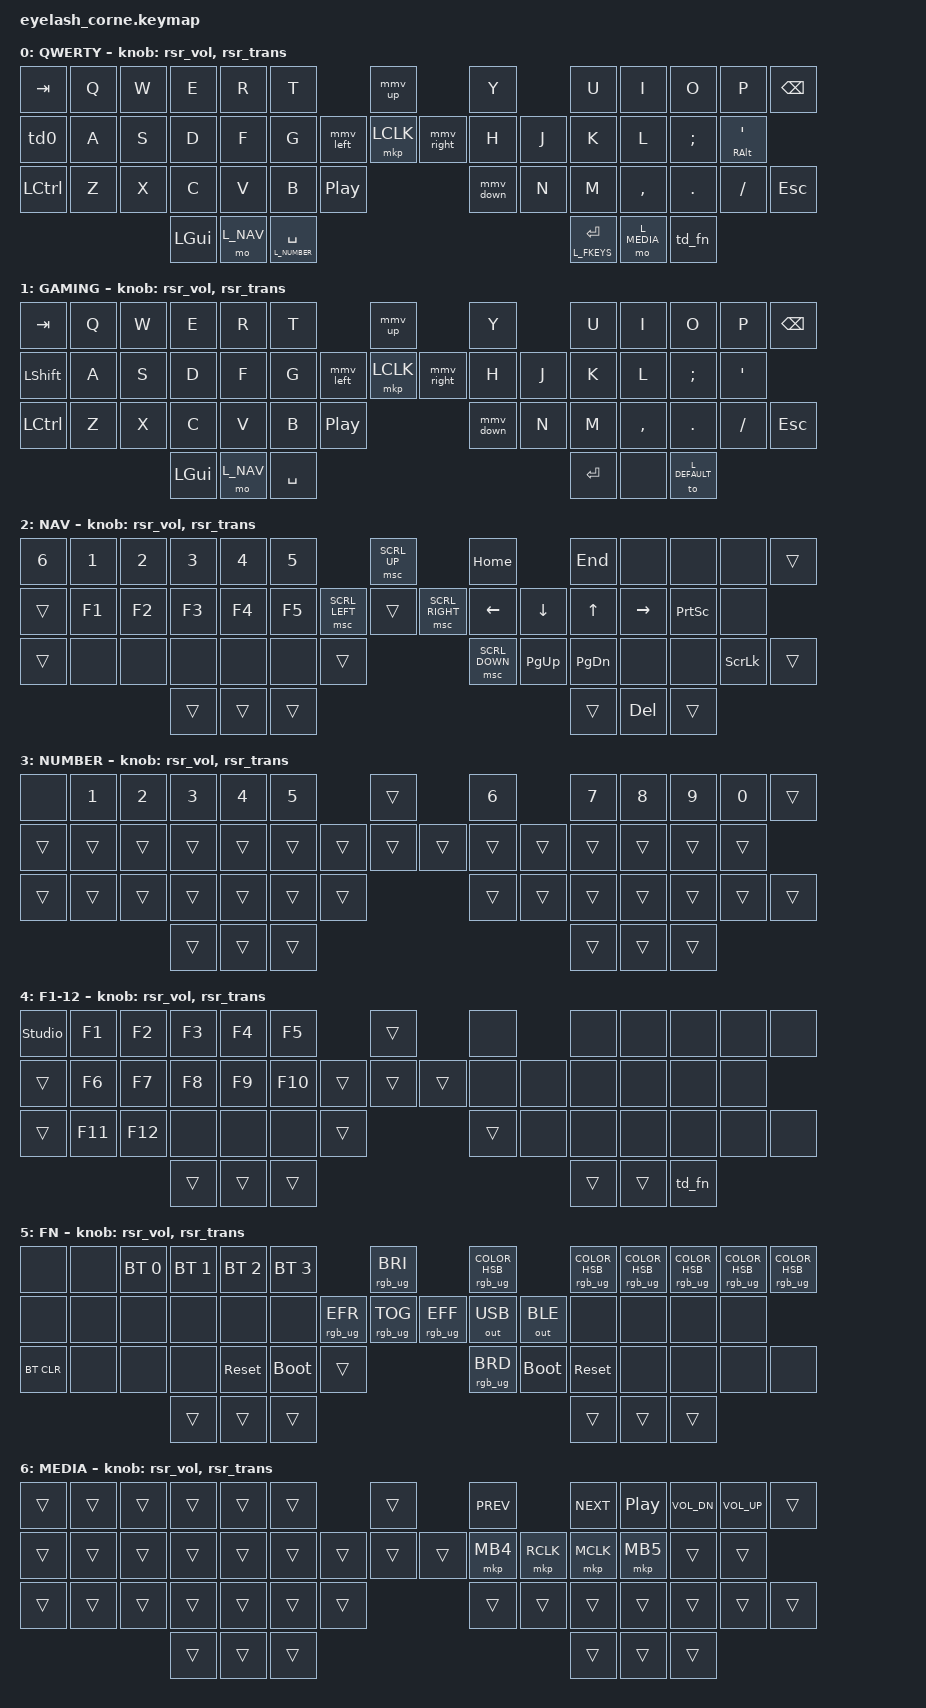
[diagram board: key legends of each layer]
#define ZMK_POINTING_DEFAULT_MOVE_VAL 800  // 600
#define ZMK_POINTING_DEFAULT_SCRL_VAL 200    // 10

/* ===== Layer Indexes ===== */
#define L_DEFAULT  0
#define L_GAMING   1
#define L_NAV      2
#define L_NUMBER   3
#define L_FKEYS    4
#define L_FN       5
#define L_MEDIA    6


#include <dt-bindings/zmk/bt.h>
#include <dt-bindings/zmk/keys.h>
#include <dt-bindings/zmk/outputs.h>
#include <dt-bindings/zmk/pointing.h>
#include <dt-bindings/zmk/rgb.h>
#include <zephyr/dt-bindings/input/input-event-codes.h>

#include <behaviors.dtsi>
#include <behaviors/runtime-sensor-rotate.dtsi>
#include <input/processors.dtsi>

/* ===== Fast Mouse Movement (2x normal speed) ===== */
#define FAST_MOVE_VAL  (ZMK_POINTING_DEFAULT_MOVE_VAL * 4)
#define FAST_UP        MOVE_Y(-FAST_MOVE_VAL)
#define FAST_DOWN      MOVE_Y(FAST_MOVE_VAL)
#define FAST_LEFT      MOVE_X(-FAST_MOVE_VAL)
#define FAST_RIGHT     MOVE_X(FAST_MOVE_VAL)

&msc {
  acceleration-exponent = <0>;         // 0
  time-to-max-speed-ms = <300>;  // 300
  delay-ms = <0>;                      // 0
};


&mmv {
  acceleration-exponent = <1>;
  time-to-max-speed-ms = <1200>;
};


/ {
  behaviors {
    td0: td0 {
      compatible = "zmk,behavior-tap-dance";
      display-name = "Shift/Caps Lock Tap Dance";
      #binding-cells = <0>;
      tapping-term-ms = <300>;
      bindings = <&kp LEFT_SHIFT>, <&kp CAPS>;
    };

    mmv_up: mmv_up {
      compatible = "zmk,behavior-mod-morph";
      #binding-cells = <0>;
      bindings = <&mmv MOVE_UP>, <&mmv FAST_UP>;
      mods = <(MOD_LSFT|MOD_RSFT)>;
      keep-mods = <(MOD_LSFT|MOD_RSFT)>;
    };

    mmv_down: mmv_down {
      compatible = "zmk,behavior-mod-morph";
      #binding-cells = <0>;
      bindings = <&mmv MOVE_DOWN>, <&mmv FAST_DOWN>;
      mods = <(MOD_LSFT|MOD_RSFT)>;
      keep-mods = <(MOD_LSFT|MOD_RSFT)>;
    };

    mmv_left: mmv_left {
      compatible = "zmk,behavior-mod-morph";
      #binding-cells = <0>;
      bindings = <&mmv MOVE_LEFT>, <&mmv FAST_LEFT>;
      mods = <(MOD_LSFT|MOD_RSFT)>;
      keep-mods = <(MOD_LSFT|MOD_RSFT)>;
    };

    mmv_right: mmv_right {
      compatible = "zmk,behavior-mod-morph";
      #binding-cells = <0>;
      bindings = <&mmv MOVE_RIGHT>, <&mmv FAST_RIGHT>;
      mods = <(MOD_LSFT|MOD_RSFT)>;
      keep-mods = <(MOD_LSFT|MOD_RSFT)>;
    };

    minus_under: minus_under {
      compatible = "zmk,behavior-mod-morph";
      #binding-cells = <0>;
      bindings = <&kp MINUS>, <&kp UNDER>;
      mods = <(MOD_LSFT|MOD_RSFT)>;
    };

    rsr_vol: rsr_vol {
      compatible = "zmk,behavior-runtime-sensor-rotate";
      #sensor-binding-cells = <0>;
      tap-ms = <5>;
      cw-binding = <&kp C_VOL_UP>;
      ccw-binding = <&kp C_VOL_DN>;
    };
  };

  td_fn: td_fn {
      compatible = "zmk,behavior-tap-dance";
      #binding-cells = <0>;
      bindings = <&kp LALT>, <&tog L_FN>, <&to L_GAMING>;
      tapping-term-ms = <200>;
  };

  parens: parens {
    compatible = "zmk,behavior-macro";
    label = "()";
    #binding-cells = <0>;
    bindings = <&kp LPAR>, <&kp RPAR>, <&kp LEFT>;
  };

  brackets: brackets {
    compatible = "zmk,behavior-macro";
    label = "[]";
    #binding-cells = <0>;
    bindings = <&kp LBKT>, <&kp RBKT>, <&kp LEFT>;
  };

  braces: braces {
    compatible = "zmk,behavior-macro";
    label = "{}";
    #binding-cells = <0>;
    bindings = <&kp LBRC>, <&kp RBRC>, <&kp LEFT>;
  };


  combos {
    compatible = "zmk,combos";

    combo_braces {
      timeout-ms = <50>;
      key-positions = <7 8>;
      bindings = <&braces>;
    };

    combo_parens {
      timeout-ms = <50>;
      key-positions = <22 23>;
      bindings = <&parens>;
    };

    combo_brackets {
      timeout-ms = <50>;
      key-positions = <36 37>;
      bindings = <&brackets>;
    };

    combo_equal {
      timeout-ms = <50>;
      key-positions = <4 5>;
      bindings = <&kp EQUAL>;
    };

    combo_minus {
      timeout-ms = <50>;
      key-positions = <17 18>;
      bindings = <&minus_under>;
    };

    combo_plus {
      timeout-ms = <50>;
      key-positions = <32 33>;
      bindings = <&kp PLUS>;
    };

    combo_grave {
      timeout-ms = <50>;
      key-positions = <0 13>;
      bindings = <&kp GRAVE>;
    };

    combo_excl {
      timeout-ms = <50>;
      key-positions = <1 14>;
      bindings = <&kp EXCL>;
    };

    combo_at {
      timeout-ms = <50>;
      key-positions = <2 15>;
      bindings = <&kp AT>;
    };

    combo_hash {
      timeout-ms = <50>;
      key-positions = <3 16>;
      bindings = <&kp HASH>;
    };

    combo_dllr {
      timeout-ms = <50>;
      key-positions = <4 17>;
      bindings = <&kp DLLR>;
    };

    combo_prcnt {
      timeout-ms = <50>;
      key-positions = <5 18>;
      bindings = <&kp PRCNT>;
    };

    combo_caret {
      timeout-ms = <50>;
      key-positions = <7 22>;
      bindings = <&kp CARET>;
    };

    combo_amps {
      timeout-ms = <50>;
      key-positions = <8 23>;
      bindings = <&kp AMPS>;
    };

    combo_astrk {
      timeout-ms = <50>;
      key-positions = <9 24>;
      bindings = <&kp ASTRK>;
    };

    combo_tilde {
      timeout-ms = <50>;
      key-positions = <10 25>;
      bindings = <&kp TILDE>;
    };

    combo_bslh {
      timeout-ms = <50>;
      key-positions = <11 26>;
      bindings = <&kp BSLH>;
    };

    combo_pipe {
      timeout-ms = <50>;
      key-positions = <12 27>;
      bindings = <&kp PIPE>;
    };
  };

  keymap {
    compatible = "zmk,keymap";

    default_layer {
      display-name = "QWERTY";
      bindings =
          <
            &kp TAB    &kp Q  &kp W     &kp E     &kp R      &kp T                                                   &mmv_up                           &kp Y              &kp U  &kp I      &kp O    &kp P     &kp BSPC
            &td0       &kp A  &kp S     &kp D     &kp F      &kp G                                    &mmv_left &mkp LCLK  &mmv_right             &kp H              &kp J  &kp K      &kp L    &kp SEMI  &mt RALT SQT
            &kp LCTRL  &kp Z  &kp X     &kp C     &kp V      &kp B        &kp C_PLAY_PAUSE                           &mmv_down                         &kp N              &kp M  &kp COMMA  &kp DOT  &kp FSLH  &kp ESC
                                        &kp LGUI  &mo L_NAV  &lt L_NUMBER SPACE                                                                        &lt L_FKEYS ENTER  &mo L_MEDIA       &td_fn
          >;

      sensor-bindings = <&rsr_vol &rsr_trans>;
    };

    gaming_layer {
      display-name = "GAMING";
      bindings =
        <
          &kp TAB    &kp Q  &kp W     &kp E     &kp R      &kp T                                   &mmv_up                           &kp Y        &kp U  &kp I      &kp O    &kp P     &kp BSPC
          &kp LSHIFT &kp A  &kp S     &kp D     &kp F      &kp G                   &mmv_left      &mkp LCLK  &mmv_right              &kp H        &kp J  &kp K      &kp L    &kp SEMI  &kp SQT
          &kp LCTRL  &kp Z  &kp X     &kp C     &kp V      &kp B   &kp C_PLAY_PAUSE                &mmv_down                         &kp N        &kp M  &kp COMMA  &kp DOT  &kp FSLH  &kp ESC
                                      &kp LGUI  &mo L_NAV  &kp SPACE                                                                 &kp ENTER    &none  &to L_DEFAULT
        >;
    
      sensor-bindings = <&rsr_vol &rsr_trans>;
    };

    nav_layer {
      display-name = "NAV";
      bindings =
        <
          &kp N6  &kp N1 &kp N2 &kp N3  &kp N4  &kp N5                                              &msc SCRL_UP                     &kp HOME     &kp END    &none      &none       &none            &trans
          &trans  &kp F1 &kp F2 &kp F3  &kp F4  &kp F5                              &msc SCRL_LEFT  &trans    &msc SCRL_RIGHT        &kp LEFT     &kp DOWN   &kp UP     &kp RIGHT   &kp PRINTSCREEN  &none
          &trans  &none  &none  &none   &none   &none            &trans                             &msc SCRL_DOWN                   &kp PG_UP    &kp PG_DN  &none      &none       &kp SCROLLLOCK   &trans
                                &trans  &trans  &trans                                                                               &trans       &kp DEL    &trans
        >;

      sensor-bindings = <&rsr_vol &rsr_trans>;
    };

    number_layer{
      display-name = "NUMBER";
      bindings =
        <
          &none  &kp N1 &kp N2 &kp N3 &kp N4 &kp N5                          &trans                   &kp N6  &kp N7  &kp N8  &kp N9  &kp N0  &trans
          &trans &trans &trans &trans &trans &trans                    &trans  &trans  &trans           &trans  &trans  &trans  &trans  &trans  &trans
          &trans &trans &trans &trans &trans &trans   &trans                   &trans                   &trans  &trans  &trans  &trans  &trans  &trans
                               &trans &trans &trans                                                     &trans  &trans  &trans
        >;

      sensor-bindings = <&rsr_vol &rsr_trans>;
    };

    f_keys_layer{
      display-name = "F1-12";
      bindings =
        <
          &studio_unlock  &kp F1      &kp F2     &kp F3       &kp F4     &kp F5                                    &trans                   &none  &none   &none  &none  &none &none
          &trans          &kp F6      &kp F7     &kp F8       &kp F9     &kp F10                           &trans  &trans  &trans           &none  &none   &none  &none  &none &none
          &trans          &kp F11     &kp F12    &none        &none      &none       &trans                        &trans                   &none  &none   &none  &none  &none &none
                                                 &trans       &trans     &trans                                                             &trans &trans  &td_fn
        >;

      sensor-bindings = <&rsr_vol &rsr_trans>;
    };

    fn_layer{
      display-name = "FN";
      bindings = 
        <
          &none       &none    &bt BT_SEL 0    &bt BT_SEL 1    &bt BT_SEL 2     &bt BT_SEL 3                                         &rgb_ug RGB_BRI                     &rgb_ug RGB_COLOR_HSB(0,0,100) &rgb_ug RGB_COLOR_HSB(180,100,100) &rgb_ug RGB_COLOR_HSB(20,93,100 ) &rgb_ug RGB_COLOR_HSB(300,100,100) &rgb_ug RGB_COLOR_HSB(330,60,100) &rgb_ug RGB_COLOR_HSB(150,60,100)
          &none       &none    &none           &none           &none            &none                               &rgb_ug RGB_EFR  &rgb_ug RGB_TOG  &rgb_ug RGB_EFF    &out OUT_USB     &out OUT_BLE   &none   &none &none &none
          &bt BT_CLR  &none    &none           &none           &sys_reset       &bootloader          &trans                          &rgb_ug RGB_BRD                     &bootloader      &sys_reset     &none   &none &none &none
                                               &trans          &trans           &trans                                                                                   &trans           &trans         &trans
        >;

      sensor-bindings = <&rsr_vol &rsr_trans>;
    };


    media_layer {
      display-name = "MEDIA";
      bindings =
        <
          &trans &trans &trans &trans &trans &trans                                        &trans                   &kp C_PREV  &kp C_NEXT  &kp C_PP    &kp C_VOL_DN  &kp C_VOL_UP  &trans
          &trans &trans &trans &trans &trans &trans                               &trans  &trans  &trans           &mkp MB4    &mkp RCLK   &mkp MCLK   &mkp MB5      &trans        &trans
          &trans &trans &trans &trans &trans &trans   &trans                              &trans                   &trans        &trans      &trans      &trans      &trans        &trans
                                      &trans &trans   &trans                                                       &trans        &trans      &trans
        >;

      sensor-bindings = <&rsr_vol &rsr_trans>;
    };

};
};

